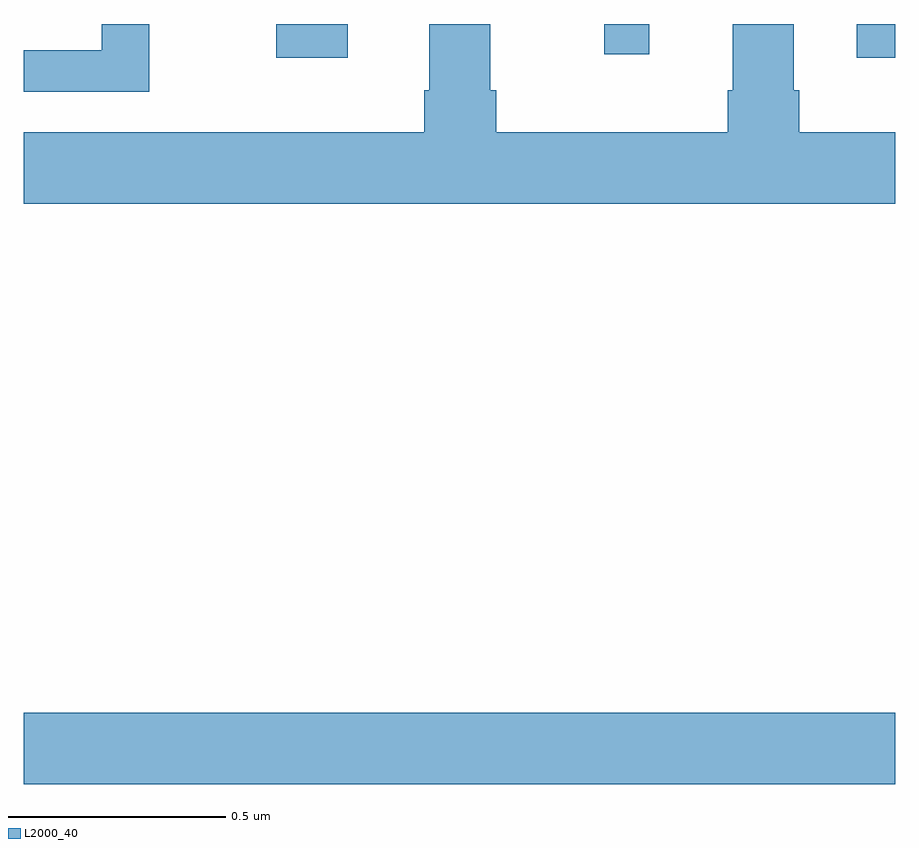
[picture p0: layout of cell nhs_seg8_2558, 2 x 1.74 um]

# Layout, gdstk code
import gdstk
lib = gdstk.Library(unit=1e-6, precision=1e-09)
def R(c, l, rs):  # rectangles x0, y0, x1, y1
    for r in rs: c.add(gdstk.rectangle(r[:2], r[2:], *l))
def P(c, l, *ps):  # polygons
    for p in ps: c.add(gdstk.Polygon(p, *l))
L2000_40 = (2000, 40)

nhs_seg8_2558 = lib.new_cell('nhs_seg8_2558')
R(nhs_seg8_2558, L2000_40, [(145,1127.156,147,1127.32), (145.579,1128.822,145.744,1128.9), (146.912,1128.822,147,1128.9), (146.332,1128.831,146.435,1128.9)])
P(nhs_seg8_2558, L2000_40, [(147,1128.652),(146.78,1128.652),(146.78,1128.748),(146.767,1128.748),(146.767,1128.9),(146.627,1128.9),(146.627,1128.748),(146.615,1128.748),(146.615,1128.652),(146.084,1128.652),(146.084,1128.748),(146.071,1128.748),(146.071,1128.9),(145.931,1128.9),(145.931,1128.748),(145.919,1128.748),(145.919,1128.652),(145,1128.652),(145,1128.488),(147,1128.488)],
  [(145.288,1128.9),(145.179,1128.9),(145.179,1128.84),(145,1128.84),(145,1128.744),(145.288,1128.744)])

lib.write_gds('nhs_seg8_2558.gds')
